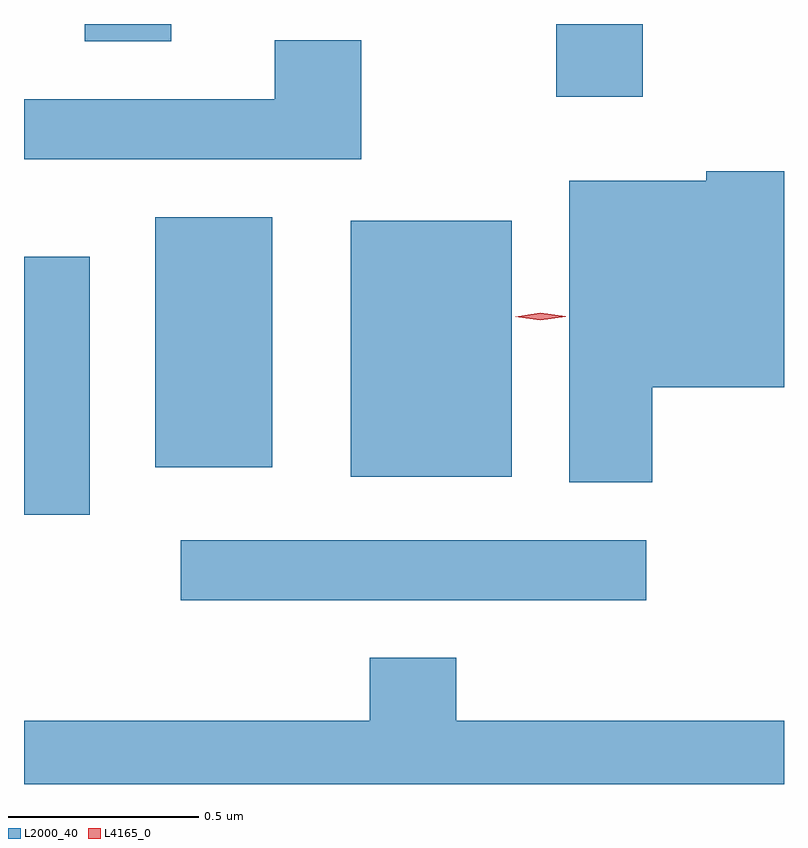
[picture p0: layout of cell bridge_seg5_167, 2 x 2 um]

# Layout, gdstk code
import gdstk
lib = gdstk.Library(unit=1e-6, precision=1e-09)
def R(c, l, rs):  # rectangles x0, y0, x1, y1
    for r in rs: c.add(gdstk.rectangle(r[:2], r[2:], *l))
def P(c, l, *ps):  # polygons
    for p in ps: c.add(gdstk.Polygon(p, *l))
L2000_40 = (2000, 40)
L4165_0 = (4165, 0)

bridge_seg5_167 = lib.new_cell('bridge_seg5_167')
R(bridge_seg5_167, L2000_40, [(1114.093,1446.281,1115.318,1446.439), (1113.681,1446.506,1113.854,1447.184), (1114.541,1446.606,1114.964,1447.279), (1114.026,1446.631,1114.334,1447.289), (1115.081,1447.606,1115.309,1447.797), (1113.841,1447.751,1114.069,1447.797)])
P(bridge_seg5_167, L2000_40, [(1114.569,1447.754),(1114.341,1447.754),(1114.341,1447.599),(1113.681,1447.599),(1113.681,1447.441),(1114.569,1447.441)],
  [(1115.334,1446.841),(1115.681,1446.841),(1115.681,1447.409),(1115.476,1447.409),(1115.476,1447.384),(1115.116,1447.384),(1115.116,1446.591),(1115.334,1446.591)],
  [(1115.681,1445.964),(1114.819,1445.964),(1114.819,1446.129),(1114.591,1446.129),(1114.591,1445.964),(1113.681,1445.964),(1113.681,1445.797),(1115.681,1445.797)])
P(bridge_seg5_167, L4165_0, [(1115.04,1447.017),(1114.974,1447.026),(1114.974,1447.027),(1114.974,1447.027),(1115.04,1447.037),(1115.106,1447.028),(1115.106,1447.028),(1115.106,1447.027)])

lib.write_gds('bridge_seg5_167.gds')
